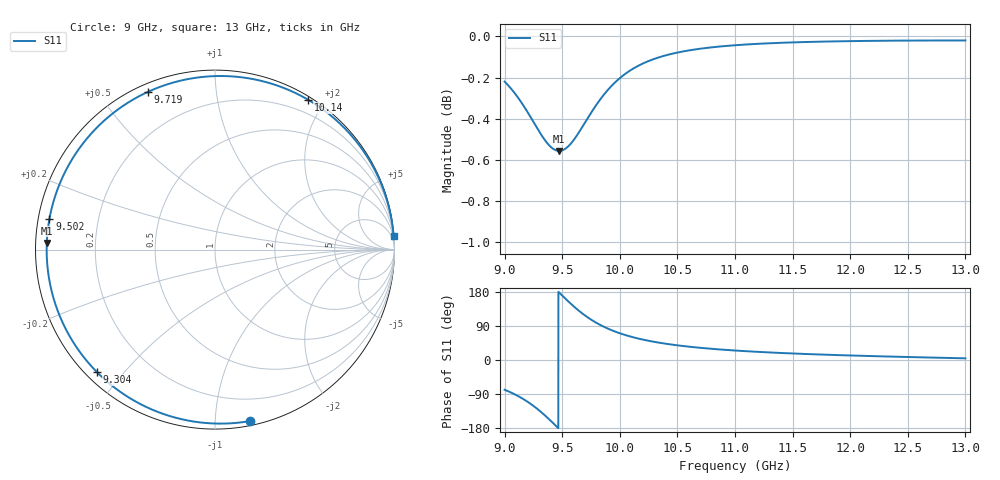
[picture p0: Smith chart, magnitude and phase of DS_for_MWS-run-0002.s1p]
! TOUCHSTONE file generated by CST DESIGN STUDIO
! Date and time: Tue Feb  4 15:46:03 2025
! Project name: C:\Work\MatlabApps\UnitCellOptimizationMatlab\CST\unitcell.cst
! Tree item: Tasks\Sweep1\SPara1\S-Parameters
! Header version: 2024
! Port assignment regex: !\s*Touchstone port\s*([0-9]+)\s*=\s*(CST MWS port|CST DES external port|CST DES block port)\s*(.+)\s* \(\"(.*)\"\)(\s*mode\s*([0-9]+))?.*
! Touchstone port assignment:
! Touchstone port 1 = CST DES external port 1 ("")
# GHz S MA R 50
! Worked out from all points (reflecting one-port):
!   4001 points, 9 GHz to 13 GHz, reference 50 ohm
!   lowest |S11| = -0.6 dB at 9.474 GHz (marker M1), VSWR 31.23, Z = 1.6 + j0.979 ohm
!   phase of S11 starts at -79 deg and turns -277 deg over the sweep
!   S11 on the Smith chart (normalised r, x): 9 GHz: 0.03, -1.22; 9.304 GHz: 0.03, -0.42; 9.502 GHz: 0.03, +0.09; 9.719 GHz: 0.03, +0.66; 10.14 GHz: 0.04, +1.80; 13 GHz: 1, +26
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9  0.975 -78.6
9.075  0.9697 -88.6
9.172  0.9612 -104.9
9.24  0.9543 -118.8
9.304  0.9478 -134.1
9.349  0.9437 -145.9
9.396  0.9403 -159.2
9.436  0.9385 -170.9
9.474  0.9379 177.8
9.5  0.9382 170.0
9.502  0.9383 169.4
9.554  0.9404 154.2
9.614  0.9449 137.8
9.666  0.9497 124.8
9.719  0.955 113.0
9.775  0.9604 102.0
9.837  0.9659 91.5
9.917  0.9719 80.1
10  0.9769 70.5
10.141  0.983 58.0
10.303  0.9876 47.7
10.5  0.991 38.7
10.722  0.9933 31.5
11  0.9951 25.0
11.5  0.9966 17.2
12  0.9974 11.9
12.5  0.9977 7.9
13  0.9977 4.4
